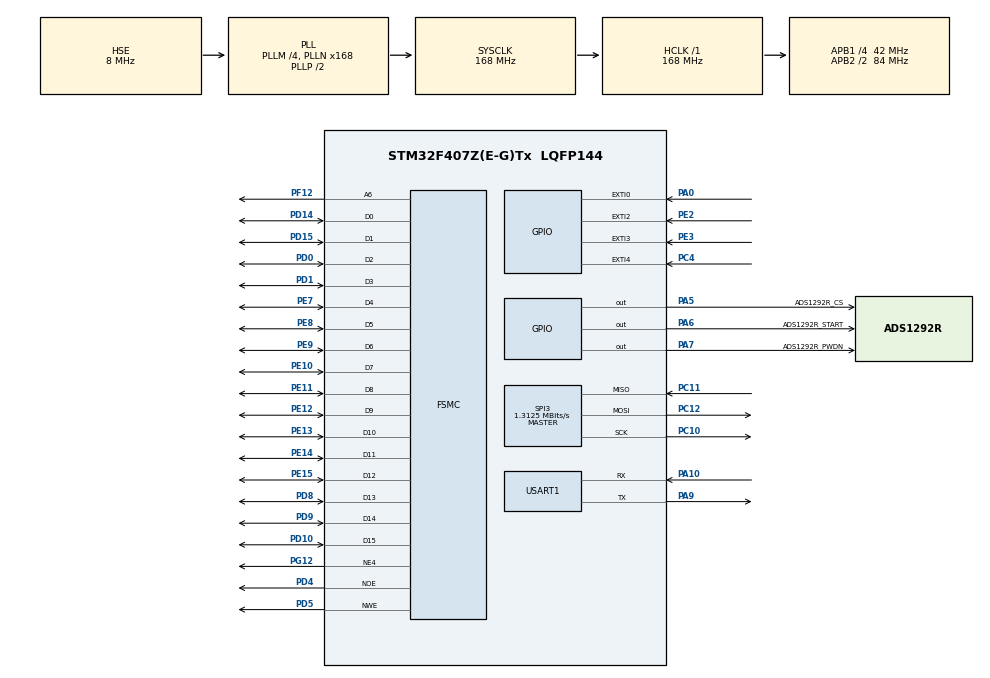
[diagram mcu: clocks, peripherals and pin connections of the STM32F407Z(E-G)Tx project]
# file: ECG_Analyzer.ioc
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FSMC.ExtendedAddressSetupTime1=9
FSMC.ExtendedBusTurnAroundDuration1=0
FSMC.ExtendedDataSetupTime1=8
FSMC.ExtendedMode1=FSMC_EXTENDED_MODE_ENABLE
Mcu.Family=STM32F4
Mcu.Name=STM32F407Z(E-G)Tx
Mcu.Package=LQFP144
NVIC.EXTI0_IRQn=true\:2\:0\:true\:false\:true\:true\:true\:true
NVIC.EXTI2_IRQn=true\:2\:0\:true\:false\:true\:true\:true\:true
NVIC.EXTI3_IRQn=true\:2\:0\:true\:false\:true\:true\:true\:true
NVIC.EXTI4_IRQn=true\:0\:0\:true\:false\:true\:true\:true\:true
NVIC.PriorityGroup=NVIC_PRIORITYGROUP_4
NVIC.SPI3_IRQn=true\:0\:0\:true\:false\:true\:true\:true\:true
PA0-WKUP.GPIO_PuPd=GPIO_PULLDOWN
PA0-WKUP.Signal=GPXTI0
PA10.Mode=Asynchronous
PA10.Signal=USART1_RX
PA13.Mode=Serial_Wire
PA13.Signal=SYS_JTMS-SWDIO
PA14.Mode=Serial_Wire
PA14.Signal=SYS_JTCK-SWCLK
PA5.GPIO_Label=ADS1292R_CS
PA5.GPIO_Speed=GPIO_SPEED_FREQ_HIGH
PA5.Signal=GPIO_Output
PA6.GPIO_Label=ADS1292R_START
PA6.GPIO_Speed=GPIO_SPEED_FREQ_HIGH
PA6.Signal=GPIO_Output
PA7.GPIO_Label=ADS1292R_PWDN
PA7.GPIO_Speed=GPIO_SPEED_FREQ_HIGH
PA7.Signal=GPIO_Output
PA9.Mode=Asynchronous
PA9.Signal=USART1_TX
PC10.Mode=Full_Duplex_Master
PC10.Signal=SPI3_SCK
PC11.Mode=Full_Duplex_Master
PC11.Signal=SPI3_MISO
PC12.Mode=Full_Duplex_Master
PC12.Signal=SPI3_MOSI
PC4.GPIO_ModeDefaultEXTI=GPIO_MODE_IT_FALLING
PC4.GPIO_PuPd=GPIO_PULLUP
PC4.Signal=GPXTI4
PD0.Signal=FSMC_D2_DA2
PD1.Signal=FSMC_D3_DA3
PD10.Signal=FSMC_D15_DA15
PD14.Signal=FSMC_D0_DA0
PD15.Signal=FSMC_D1_DA1
PD4.Signal=FSMC_NOE
PD5.Signal=FSMC_NWE
PD8.Signal=FSMC_D13_DA13
PD9.Signal=FSMC_D14_DA14
PE10.Signal=FSMC_D7_DA7
PE11.Signal=FSMC_D8_DA8
PE12.Signal=FSMC_D9_DA9
PE13.Signal=FSMC_D10_DA10
PE14.Signal=FSMC_D11_DA11
PE15.Signal=FSMC_D12_DA12
PE2.GPIO_PuPd=GPIO_PULLUP
PE2.Signal=GPXTI2
PE3.GPIO_PuPd=GPIO_PULLUP
PE3.Signal=GPXTI3
PE7.Signal=FSMC_D4_DA4
PE8.Signal=FSMC_D5_DA5
PE9.Signal=FSMC_D6_DA6
PF12.Signal=FSMC_A6
PG12.Mode=NorPsramChipSelect4_1
PG12.Signal=FSMC_NE4
PH0-OSC_IN.Mode=HSE-External-Oscillator
PH0-OSC_IN.Signal=RCC_OSC_IN
PH1-OSC_OUT.Mode=HSE-External-Oscillator
PH1-OSC_OUT.Signal=RCC_OSC_OUT
ProjectManager.HeapSize=0x200
ProjectManager.StackSize=0x400
ProjectManager.TargetToolchain=MDK-ARM V5.32
RCC.48MHZClocksFreq_Value=84000000
RCC.AHBFreq_Value=168000000
RCC.APB1CLKDivider=RCC_HCLK_DIV4
RCC.APB1Freq_Value=42000000
RCC.APB1TimFreq_Value=84000000
RCC.APB2CLKDivider=RCC_HCLK_DIV2
RCC.APB2Freq_Value=84000000
RCC.APB2TimFreq_Value=168000000
RCC.CortexFreq_Value=168000000
RCC.HCLKFreq_Value=168000000
RCC.HSE_VALUE=8000000
RCC.HSI_VALUE=16000000
RCC.LSE_VALUE=32768
RCC.PLLM=4
RCC.PLLN=168
RCC.PLLSourceVirtual=RCC_PLLSOURCE_HSE
RCC.SYSCLKFreq_VALUE=168000000
RCC.SYSCLKSource=RCC_SYSCLKSOURCE_PLLCLK
RCC.VCOOutputFreq_Value=336000000
SH.FSMC_A6.0=FSMC_A6,A6_1
SH.FSMC_D0_DA0.0=FSMC_D0,16b-d1
SH.FSMC_D10_DA10.0=FSMC_D10,16b-d1
SH.FSMC_D11_DA11.0=FSMC_D11,16b-d1
SH.FSMC_D12_DA12.0=FSMC_D12,16b-d1
SH.FSMC_D13_DA13.0=FSMC_D13,16b-d1
SH.FSMC_D14_DA14.0=FSMC_D14,16b-d1
SH.FSMC_D15_DA15.0=FSMC_D15,16b-d1
SH.FSMC_D1_DA1.0=FSMC_D1,16b-d1
SH.FSMC_D2_DA2.0=FSMC_D2,16b-d1
SH.FSMC_D3_DA3.0=FSMC_D3,16b-d1
SH.FSMC_D4_DA4.0=FSMC_D4,16b-d1
SH.FSMC_D5_DA5.0=FSMC_D5,16b-d1
SH.FSMC_D6_DA6.0=FSMC_D6,16b-d1
SH.FSMC_D7_DA7.0=FSMC_D7,16b-d1
SH.FSMC_D8_DA8.0=FSMC_D8,16b-d1
SH.FSMC_D9_DA9.0=FSMC_D9,16b-d1
SH.FSMC_NOE.0=FSMC_NOE,Lcd1
SH.FSMC_NWE.0=FSMC_NWE,Lcd1
SPI3.BaudRatePrescaler=SPI_BAUDRATEPRESCALER_32
SPI3.CLKPhase=SPI_PHASE_2EDGE
SPI3.CalculateBaudRate=1.3125 MBits/s
SPI3.Direction=SPI_DIRECTION_2LINES
SPI3.Mode=SPI_MODE_MASTER
SPI3.VirtualType=VM_MASTER
USART1.VirtualMode=VM_ASYNC
board=custom

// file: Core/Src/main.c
/* USER CODE BEGIN Header */
/**
  ******************************************************************************
  * @file           : main.c
  * @brief          : Main program body
  ******************************************************************************
  * @attention
  *
  * Copyright (c) 2024 STMicroelectronics.
  * All rights reserved.
  *
  * This software is licensed under terms that can be found in the LICENSE file
  * in the root directory of this software component.
  * If no LICENSE file comes with this software, it is provided AS-IS.
  *
  ******************************************************************************
  */
/* USER CODE END Header */
#include "main.h"
#include "spi.h"
#include "usart.h"
#include "gpio.h"
#include "fsmc.h"

/* USER CODE BEGIN Includes */
#include "math.h"
#include "lcd.h"
#include "arm_math.h"
#include "ADS1292.h"
#include "IIRFilter.h"
#include "FIRFilter.h"
#include "stdio.h"
#include "arm_math.h"
#include "bsp_dwt.h"
#include "transfer_function.h"
/* USER CODE END Includes */

void SystemClock_Config(void);

/* USER CODE BEGIN 0 */

uint8_t ads1292_recive_flag;

extern int16_t IIR_Result;
extern int16_t FIRResult;
int heart_beat=0;
double heart_rate;

#define ECG_COUNT 256
int16_t ECG_Signal[ECG_COUNT];
int16_t ECG_Signal_raw[ECG_COUNT];
uint16_t ecg_num;

#define FFT_LENGTH		256
int16_t maxfft;
uint32_t maxindex = 0;
float FFT_InputBufmy[FFT_LENGTH*2];
float FFT_OutputBufmy[FFT_LENGTH];
float FFT_OutputBufmy1[FFT_LENGTH];
arm_cfft_radix4_instance_f32 scfft;
int numangle = 0;
int16_t fftf[1024];

void fftcal()
{
		for(int i=0; i < FFT_LENGTH; i++)
{
    FFT_InputBufmy[2*i]=(uint16_t)(ECG_Signal[i])/20;
    FFT_InputBufmy[2*i+1]=0;
}
arm_cfft_radix4_f32(&scfft,FFT_InputBufmy);
arm_cmplx_mag_f32(FFT_InputBufmy,FFT_OutputBufmy,FFT_LENGTH);

for(int i = 0;i<FFT_LENGTH;i++)
{
	FFT_OutputBufmy[i] =FFT_OutputBufmy[i]*0.36*0.5/1000;
//			if(FFT_OutputBufmy[i]>100)
//	{
//	FFT_OutputBufmy[i] = 100;
//
//	}
fftf[i] = FFT_OutputBufmy[i];

//	if(FFT_OutputBufmy[i]<1)
//	{
//	FFT_OutputBufmy[i] = 0;
//
//	}

}
}
Second_Order_TF_t tf;

    // ?????????,?? c[0] = 2, c[1] = 1, c[2] = 1
    float coefficients[3] = {2.0f, 1.0f, 1.0f};
		uint32_t DWT_CNT1;
		int16_t maxtt,mintt;
		int16_t maxraw,minraw;
		int ifboom = 0;
		IIRFilterState filterState;

/* USER CODE END 0 */

int main(void)
{

  /* MCU Configuration--------------------------------------------------------*/

  /* Reset of all peripherals, Initializes the Flash interface and the Systick. */
  HAL_Init();

  /* Configure the system clock */
  SystemClock_Config();

  /* Initialize all configured peripherals */
  MX_GPIO_Init();
  MX_USART1_UART_Init();
  MX_FSMC_Init();
  MX_SPI3_Init();
  /* USER CODE BEGIN 2 */
	ADS1292R_Init();
	ADS1292R_Work();

	FIRInit();
	DWT_Init(168);
	lcd_init();
	lcd_clear(BLACK);
	lcd_display_dir(1);
	IIRFilter_Init(&filterState);
			arm_cfft_radix4_init_f32(&scfft,FFT_LENGTH,0,1);
//Second_Order_TF_Init(&tf, coefficients);
  /* USER CODE END 2 */

  /* Infinite loop */
  while (1)
  {

    /* USER CODE BEGIN 3 */
//		drawCurve(lcd_data, 460);
//		HAL_Delay(500);

//22000000/(56(cycle)+12.5)/1024/40(抽样) = 7.48
//arm_max_f32(&FFT_OutputBufmy[20],900,&maxfft,&maxindex);

		if(ads1292_recive_flag == 1)
		{
	  	ads1292_recive_flag = 0;

			//心电与心率信号采集
			{
				data_trans();
				//IIRFilter(ECGRawData[0]);
				IIR_Result = IIRFilter_Process(&filterState, ECGRawData[0]);
				FIRFilter(IIR_Result);
				heart_beat = heartbeat_check(FIRResult);
				if(heart_beat ==1)
				{
					ifboom++;
					if(ifboom == 6){
					heart_rate = 6*60/DWT_GetDeltaT(&DWT_CNT1);
					ifboom= 0;

					}
				}
				//heart_rate = calc_heartbeat_rate(heart_beat);

				if(ecg_num < ECG_COUNT)
				{
					ECG_Signal[ecg_num] = FIRResult; //记录波形
				//	IIR_Result =  Second_Order_TF_Calculate(&tf, ECGRawData[0]);
					ECG_Signal_raw[ecg_num] = ECGRawData[0];
					ecg_num++;

				}
				else
				{

					ecg_num = 0;
					arm_max_q15(&ECG_Signal[0],ECG_COUNT,&maxtt,&maxindex);
					arm_min_q15(&ECG_Signal[0],ECG_COUNT,&mintt,&maxindex);
					arm_max_q15(&ECG_Signal_raw[0],ECG_COUNT,&maxraw,&maxindex);
					arm_min_q15(&ECG_Signal_raw[0],ECG_COUNT,&minraw,&maxindex);
					maxfft = maxtt-mintt;
					fftcal();

				drawCurve(fftf,1024);

				}

				//drawCurve(fftf,1024);

				if(numangle == 1){
drawCurve1(ECGRawData[1]);
				}
						else if(numangle == 0){
drawCurve1(FIRResult);}
						else {
drawCurve1(ECGRawData[0]);
					}
			//	drawCurve1(ECGRawData[0]); //画波形

					//	drawCurve1(heart_beat*maxtt); //画波形
				lcd_show_string(10, 10, 240, 16, 16, "HR: ", WHITE);
				lcd_show_num(32, 10, (uint32_t)heart_rate, 3, 16, WHITE);
				float vppt;
				float ampt;
				if(numangle == 1){
				 vppt = 2000;//26
	ampt = (float)vppt/2.f;
				}
						else {
					 vppt = (float)(maxraw - minraw)/27.f*1000;//26
							 ampt = (float)vppt/2.f;
					}

	lcd_show_string(10, 30, 240, 16, 16, "Vpp: ", WHITE);
	lcd_show_num(48, 30, (uint32_t)vppt, 4, 16, WHITE);
	lcd_show_string(10, 50, 240, 16, 16, "Amp: ", WHITE);
	lcd_show_num(48, 50, (uint32_t)ampt, 4, 16, WHITE);

			//	printf("A = %d,B = %d,C = %d\n", ECGRawData[0],  ECGRawData[1], FIRResult);
				drawXAxis();
			}

			//内部方波采集
//			{
//				data_trans();
//
//				if(ecg_num < ECG_COUNT)
//				{
//					ECG_Signal[ecg_num] = ECGRawData[0]; //记录波形
//					ecg_num++;
//				}
//				else
//				{
//					ecg_num = 0;
//					drawCurve(ECG_Signal, ECG_COUNT); //画波形
//				}
//
//				//printf("%d,%d\n", ECGRawData[0], ECGRawData[1]);
//			}
		}
  }
  /* USER CODE END 3 */
}

void SystemClock_Config(void)
{
  RCC_OscInitTypeDef RCC_OscInitStruct = {0};
  RCC_ClkInitTypeDef RCC_ClkInitStruct = {0};

  /** Configure the main internal regulator output voltage
  */
  __HAL_RCC_PWR_CLK_ENABLE();
  __HAL_PWR_VOLTAGESCALING_CONFIG(PWR_REGULATOR_VOLTAGE_SCALE1);

  /** Initializes the RCC Oscillators according to the specified parameters
  * in the RCC_OscInitTypeDef structure.
  */
  RCC_OscInitStruct.OscillatorType = RCC_OSCILLATORTYPE_HSE;
  RCC_OscInitStruct.HSEState = RCC_HSE_ON;
  RCC_OscInitStruct.PLL.PLLState = RCC_PLL_ON;
  RCC_OscInitStruct.PLL.PLLSource = RCC_PLLSOURCE_HSE;
  RCC_OscInitStruct.PLL.PLLM = 4;
  RCC_OscInitStruct.PLL.PLLN = 168;
  RCC_OscInitStruct.PLL.PLLP = RCC_PLLP_DIV2;
  RCC_OscInitStruct.PLL.PLLQ = 4;
  if (HAL_RCC_OscConfig(&RCC_OscInitStruct) != HAL_OK)
  {
    Error_Handler();
  }

  /** Initializes the CPU, AHB and APB buses clocks
  */
  RCC_ClkInitStruct.ClockType = RCC_CLOCKTYPE_HCLK|RCC_CLOCKTYPE_SYSCLK
                              |RCC_CLOCKTYPE_PCLK1|RCC_CLOCKTYPE_PCLK2;
  RCC_ClkInitStruct.SYSCLKSource = RCC_SYSCLKSOURCE_PLLCLK;
  RCC_ClkInitStruct.AHBCLKDivider = RCC_SYSCLK_DIV1;
  RCC_ClkInitStruct.APB1CLKDivider = RCC_HCLK_DIV4;
  RCC_ClkInitStruct.APB2CLKDivider = RCC_HCLK_DIV2;

  if (HAL_RCC_ClockConfig(&RCC_ClkInitStruct, FLASH_LATENCY_5) != HAL_OK)
  {
    Error_Handler();
  }
}

void Error_Handler(void)
{
  __disable_irq();
  while (1)
  {
  }
}
